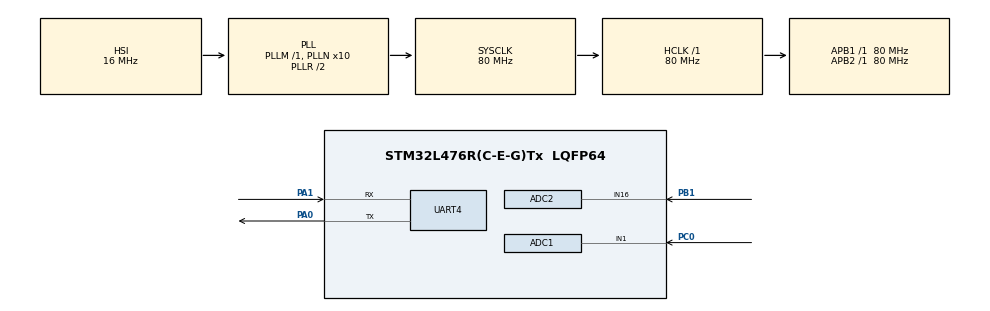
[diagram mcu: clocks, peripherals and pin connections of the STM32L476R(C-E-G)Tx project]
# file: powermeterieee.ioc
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ADC1.Channel-0\#ChannelRegularConversion=ADC_CHANNEL_1
ADC1.ClockPrescaler=ADC_CLOCK_ASYNC_DIV1
ADC1.ContinuousConvMode=DISABLE
ADC1.DMAAccessModeView=ENABLE
ADC1.DMAContinuousRequests=ENABLE
ADC1.ExternalTrigConv=ADC_EXTERNALTRIG_T1_TRGO
ADC1.Mode=ADC_DUALMODE_REGSIMULT
ADC1.NbrOfConversionFlag=1
ADC1.OffsetNumber-0\#ChannelRegularConversion=ADC_OFFSET_NONE
ADC1.Rank-0\#ChannelRegularConversion=1
ADC1.Resolution=ADC_RESOLUTION_12B
ADC1.SamplingTime-0\#ChannelRegularConversion=ADC_SAMPLETIME_92CYCLES_5
ADC1.master=1
ADC2.Channel-0\#ChannelRegularConversion=ADC_CHANNEL_16
ADC2.DMAAccessModeView=ENABLE
ADC2.Mode=ADC_DUALMODE_REGSIMULT
ADC2.NbrOfConversionFlag=1
ADC2.OffsetNumber-0\#ChannelRegularConversion=ADC_OFFSET_NONE
ADC2.Rank-0\#ChannelRegularConversion=1
ADC2.SamplingTime-0\#ChannelRegularConversion=ADC_SAMPLETIME_2CYCLES_5
Dma.ADC1.0.Direction=DMA_PERIPH_TO_MEMORY
Dma.ADC1.0.Instance=DMA1_Channel1
Dma.ADC1.0.MemDataAlignment=DMA_MDATAALIGN_WORD
Dma.ADC1.0.MemInc=DMA_MINC_ENABLE
Dma.ADC1.0.Mode=DMA_CIRCULAR
Dma.ADC1.0.PeriphDataAlignment=DMA_PDATAALIGN_WORD
Dma.ADC1.0.PeriphInc=DMA_PINC_DISABLE
Dma.ADC1.0.Priority=DMA_PRIORITY_LOW
Dma.Request0=ADC1
FREERTOS.BinarySemaphores01=uartBinSema,Dynamic,NULL
FREERTOS.Queues01=adchalfselectQueue,1,uint8_t,0,Dynamic,NULL,NULL;rxuartqueue,128,uint8_t,0,Dynamic,NULL,NULL;energyqueue,1,ENERGY_DATA,0,Dynamic,NULL,NULL
FREERTOS.Tasks01=uartTask,24,256,StartUartTask,Default,NULL,Dynamic,NULL,NULL;adcTask,32,256,StartAdcTask,Default,NULL,Dynamic,NULL,NULL
FREERTOS.configTOTAL_HEAP_SIZE=3500
FREERTOS.configUSE_NEWLIB_REENTRANT=1
Mcu.Family=STM32L4
Mcu.Name=STM32L476R(C-E-G)Tx
Mcu.Package=LQFP64
NVIC.DMA1_Channel1_IRQn=true\:5\:0\:false\:false\:true\:true\:false\:true\:true
NVIC.PriorityGroup=NVIC_PRIORITYGROUP_4
NVIC.TIM7_IRQn=true\:15\:0\:false\:false\:true\:false\:false\:true\:true
NVIC.TimeBase=TIM7_IRQn
NVIC.TimeBaseIP=TIM7
NVIC.UART4_IRQn=true\:5\:0\:false\:false\:true\:true\:true\:true\:true
PA0.Mode=Asynchronous
PA0.Signal=UART4_TX
PA1.Mode=Asynchronous
PA1.Signal=UART4_RX
PB1.Signal=ADCx_IN16
PC0.Signal=ADCx_IN1
ProjectManager.HeapSize=0x200
ProjectManager.StackSize=0x400
ProjectManager.TargetToolchain=STM32CubeIDE
RCC.ADCFreq_Value=64000000
RCC.AHBFreq_Value=80000000
RCC.APB1Freq_Value=80000000
RCC.APB1TimFreq_Value=80000000
RCC.APB2Freq_Value=80000000
RCC.APB2TimFreq_Value=80000000
RCC.CortexFreq_Value=80000000
RCC.HCLKFreq_Value=80000000
RCC.HSE_VALUE=8000000
RCC.HSI_VALUE=16000000
RCC.LSE_VALUE=32768
RCC.MSI_VALUE=4000000
RCC.PLLN=10
RCC.PLLSourceVirtual=RCC_PLLSOURCE_HSI
RCC.PREFETCH_ENABLE=1
RCC.SYSCLKFreq_VALUE=80000000
RCC.SYSCLKSource=RCC_SYSCLKSOURCE_PLLCLK
RCC.USBFreq_Value=64000000
RCC.VCOOutputFreq_Value=160000000
SH.ADCx_IN1.0=ADC1_IN1,IN1-Single-Ended
SH.ADCx_IN16.0=ADC2_IN16,IN16-Single-Ended
TIM1.Period=10416
TIM1.TIM_MasterOutputTrigger=TIM_TRGO_UPDATE
VP_FREERTOS_VS_CMSIS_V2.Mode=CMSIS_V2
VP_SYS_VS_tim7.Mode=TIM7
VP_TIM1_VS_ClockSourceINT.Mode=Internal
board=NUCLEO-L476RG

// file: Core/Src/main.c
/* USER CODE BEGIN Header */
/**
  ******************************************************************************
  * @file           : main.c
  * @brief          : Main program body
  ******************************************************************************
  * @attention
  *
  * Copyright (c) 2024 STMicroelectronics.
  * All rights reserved.
  *
  * This software is licensed under terms that can be found in the LICENSE file
  * in the root directory of this software component.
  * If no LICENSE file comes with this software, it is provided AS-IS.
  *
  ******************************************************************************
  */
/* USER CODE END Header */
#include "main.h"
#include "cmsis_os.h"

/* USER CODE BEGIN Includes */
#include "math.h"
#include "queue.h"
#include "semphr.h"

/* USER CODE END Includes */

/* USER CODE BEGIN PTD */

 typedef enum UART_MACHINE_STATES
{
  UMS_RECEIVING,
  UMS_PROCESSING_RESPONSE_PACKAGE,
  UMS_SENDING_RESPONSE,
  UMS_TIMEOUT						//sem rotina por enqnt...
}UART_MACHINE_STATES;

 typedef enum UART_PACKAGE_PARTS
{
  UPP_STX,
  UPP_DEVICE_ADDRESS,
  UPP_OPCODE,
  UPP_DATA_LEN,
  UPP_DATA,
  UPP_CHECKSUM,
  UPP_ETX
}UART_PACKAGE_PARTS;

 typedef enum ERRORS_LISTtag
 {
     EL_NO_ERROR = 0x00,
     EL_INVALID_OPCODE = 0x01,
     EL_INVALID_DATA = 0x02,
     EL_MEMORY_WRITE_ERROR = 0x03,

     EL_NUM_ERRORS
 }ERRORS_LIST;

// Pergunta
//    0x10 a 0x7F
// Resposta
//    0x90 a 0xFF

typedef enum UART_OPCODES
{
	// Busca de dados e informações 0x10 a 0x1F
	UO_KEEPALIVE		= 0x10,
	UO_GET_DATA 		= 0x11,

	// Ações de configuração e ajustes 0x20 a 0x3F
	UO_SETCONFIG		= 0x20,

	// Operação ou outro 0x40 a 0x5F

	UO_NUM_OF

}UART_OPCODES;

/* USER CODE END PTD */

/* USER CODE BEGIN PM */
#define V1_SENSOR_MULT	0.000837696335//0.996551//Encontra a tensão da Saída do Sensor x100
#define V1_REAL_MULT 	789.1033381//808.1496160//63.37024//Encontra a tensão de entrada do Sensor  x100

#define C2_SENSOR_MULT	0.000878232758//0.362903//Encontra a tensão da Saída do Sensor x100
#define C2_REAL_MULT	23.10292756//5.4691//Encontra a Corrente de entrada do Sensor  x100

#define F_BUFFER_SIZE	256
#define H_BUFFER_SIZE	128

#define MIN_RMS_VOLTAGE 300

#define STX 0x02
#define ETX 0x03
#define ESC 0x10
#define ESC_INC 0x20
#define DEVICE_ADDR  0x01

#define RESPONSE_OPCODE_MASK 0x80

#define MAX_DATA_LEN 	122
#define MAX_PACKAGE_LEN 128
/* USER CODE END PM */

ADC_HandleTypeDef hadc1;
ADC_HandleTypeDef hadc2;
DMA_HandleTypeDef hdma_adc1;

TIM_HandleTypeDef htim1;

UART_HandleTypeDef huart4;

/* Definitions for uartTask */
osThreadId_t uartTaskHandle;
const osThreadAttr_t uartTask_attributes = {
  .name = "uartTask",
  .stack_size = 256 * 4,
  .priority = (osPriority_t) osPriorityNormal,
};
/* Definitions for adcTask */
osThreadId_t adcTaskHandle;
const osThreadAttr_t adcTask_attributes = {
  .name = "adcTask",
  .stack_size = 256 * 4,
  .priority = (osPriority_t) osPriorityAboveNormal,
};
/* Definitions for adchalfselectQueue */
osMessageQueueId_t adchalfselectQueueHandle;
const osMessageQueueAttr_t adchalfselectQueue_attributes = {
  .name = "adchalfselectQueue"
};
/* Definitions for rxuartqueue */
osMessageQueueId_t rxuartqueueHandle;
const osMessageQueueAttr_t rxuartqueue_attributes = {
  .name = "rxuartqueue"
};
/* Definitions for energyqueue */
osMessageQueueId_t energyqueueHandle;
const osMessageQueueAttr_t energyqueue_attributes = {
  .name = "energyqueue"
};
/* Definitions for uartBinSema */
osSemaphoreId_t uartBinSemaHandle;
const osSemaphoreAttr_t uartBinSema_attributes = {
  .name = "uartBinSema"
};
/* USER CODE BEGIN PV */

typedef struct UART_PACKAGE_PROTOCOL
{
  unsigned char uc_Stx;
  unsigned char uc_DeviceAddress;
  unsigned char uc_OpCode;
  unsigned char uc_Datalen;
  unsigned char uc_Data[MAX_DATA_LEN];
  unsigned char uc_Checksum;
  unsigned char uc_Etx;
}UART_PACKAGE_PROTOCOL;

typedef struct ENERGY_DATA
{
	int32_t rms_current;
	int32_t rms_voltage;
	uint32_t pot_aparente;
	uint32_t pot_reativa;
	int32_t  pot_ativa;
	uint16_t pf;
	uint64_t consumption;
}ENERGY_DATA;

 int32_t pot_ativa1 = 0;
 uint32_t pot_aparente1 = 0;
 uint32_t pot_reativa1 = 0;
 int32_t rms_voltage1 = 0;
 int32_t rms_current1 = 0;
 uint16_t pf1 = 0;
 uint64_t consumption1 = 0;

uint32_t 	adcBuffer[F_BUFFER_SIZE];
uint16_t 	adc1_voltage[H_BUFFER_SIZE];
uint16_t 	adc2_current[H_BUFFER_SIZE];

UART_MACHINE_STATES m_udtUartmachineStates;
UART_PACKAGE_PARTS  m_udtUartPackageParts;
UART_PACKAGE_PROTOCOL m_udtReceptionPackage;
UART_PACKAGE_PROTOCOL m_udtTransmitionPackage;

// Dado que está sendo processado no pacote
unsigned char m_ucCorrentDataPos;

// Dado que está sendo processado no Buffer de Transmissao
unsigned char m_ucTXBufferCorrentDataPos = 0;

// CheckSum Calculado
unsigned char m_ucCalculatedChecksum;

// Indica que está tratando um scape char
uint8_t m_blnProcessingScapeChar;

// Indica que está na hora de responder
uint8_t m_blnReply = 0;

uint8_t rx_buffer;
uint8_t tx_buffer[MAX_PACKAGE_LEN];

/* USER CODE END PV */

void SystemClock_Config(void);
void PeriphCommonClock_Config(void);
static void MX_GPIO_Init(void);
static void MX_DMA_Init(void);
static void MX_ADC1_Init(void);
static void MX_TIM1_Init(void);
static void MX_ADC2_Init(void);
static void MX_UART4_Init(void);
void StartUartTask(void *argument);
void StartAdcTask(void *argument);

/* USER CODE BEGIN PFP */

/**
* void ResetSerial()
*
* Rotina responsável por reinicializar o protocolo serial para aguardar um novo pacote.
*
* @author Vinicius Ludwig
*/
void ResetSerial();

/**
* unsigned char CalculateChecksum(unsigned char* udtpackage, unsigned char ucLen)
*
* Calcula o checksum de um pacote.
*
* @author Vinicius Ludwig
*/
unsigned char CalculateChecksum(unsigned char* udtpackage, unsigned char ucLen);

/**
* bool SendData(unsigned char ucDataTosend, bool blnIsSpecialChar)
*
* Valida e envia um dado via serial
*
* @author Vinicius Ludwig
*/
uint8_t SendData(unsigned char ucDataTosend, uint8_t blnIsSpecialChar);

/**
* void UartMainProcess(unsigned char ucData)
*
* Chamado do processamento da serial na task da uart.
*
* @author Vinicius Ludwig
*/
void UartMainProcess(unsigned char ucData);

/* USER CODE END PFP */

int main(void)
{

  /* MCU Configuration--------------------------------------------------------*/

  /* Reset of all peripherals, Initializes the Flash interface and the Systick. */
  HAL_Init();

  /* Configure the system clock */
  SystemClock_Config();

/* Configure the peripherals common clocks */
  PeriphCommonClock_Config();

  /* Initialize all configured peripherals */
  MX_GPIO_Init();
  MX_DMA_Init();
  MX_ADC1_Init();
  MX_TIM1_Init();
  MX_ADC2_Init();
  MX_UART4_Init();

  /* Init scheduler */
  osKernelInitialize();

  /* Create the semaphores(s) */
  /* creation of uartBinSema */
  uartBinSemaHandle = osSemaphoreNew(1, 1, &uartBinSema_attributes);

  /* Create the queue(s) */
  /* creation of adchalfselectQueue */
  adchalfselectQueueHandle = osMessageQueueNew (1, sizeof(uint8_t), &adchalfselectQueue_attributes);

  /* creation of rxuartqueue */
  rxuartqueueHandle = osMessageQueueNew (128, sizeof(uint8_t), &rxuartqueue_attributes);

  /* creation of energyqueue */
  energyqueueHandle = osMessageQueueNew (1, sizeof(ENERGY_DATA), &energyqueue_attributes);

  /* Create the thread(s) */
  /* creation of uartTask */
  uartTaskHandle = osThreadNew(StartUartTask, NULL, &uartTask_attributes);

  /* creation of adcTask */
  adcTaskHandle = osThreadNew(StartAdcTask, NULL, &adcTask_attributes);

  /* Start scheduler */
  osKernelStart();

  /* We should never get here as control is now taken by the scheduler */
  /* Infinite loop */
  while (1)
  {

  }
}

void SystemClock_Config(void)
{
  RCC_OscInitTypeDef RCC_OscInitStruct = {0};
  RCC_ClkInitTypeDef RCC_ClkInitStruct = {0};

  /** Configure the main internal regulator output voltage
  */
  if (HAL_PWREx_ControlVoltageScaling(PWR_REGULATOR_VOLTAGE_SCALE1) != HAL_OK)
  {
    Error_Handler();
  }

  /** Initializes the RCC Oscillators according to the specified parameters
  * in the RCC_OscInitTypeDef structure.
  */
  RCC_OscInitStruct.OscillatorType = RCC_OSCILLATORTYPE_HSI;
  RCC_OscInitStruct.HSIState = RCC_HSI_ON;
  RCC_OscInitStruct.HSICalibrationValue = RCC_HSICALIBRATION_DEFAULT;
  RCC_OscInitStruct.PLL.PLLState = RCC_PLL_ON;
  RCC_OscInitStruct.PLL.PLLSource = RCC_PLLSOURCE_HSI;
  RCC_OscInitStruct.PLL.PLLM = 1;
  RCC_OscInitStruct.PLL.PLLN = 10;
  RCC_OscInitStruct.PLL.PLLP = RCC_PLLP_DIV7;
  RCC_OscInitStruct.PLL.PLLQ = RCC_PLLQ_DIV2;
  RCC_OscInitStruct.PLL.PLLR = RCC_PLLR_DIV2;
  if (HAL_RCC_OscConfig(&RCC_OscInitStruct) != HAL_OK)
  {
    Error_Handler();
  }

  /** Initializes the CPU, AHB and APB buses clocks
  */
  RCC_ClkInitStruct.ClockType = RCC_CLOCKTYPE_HCLK|RCC_CLOCKTYPE_SYSCLK
                              |RCC_CLOCKTYPE_PCLK1|RCC_CLOCKTYPE_PCLK2;
  RCC_ClkInitStruct.SYSCLKSource = RCC_SYSCLKSOURCE_PLLCLK;
  RCC_ClkInitStruct.AHBCLKDivider = RCC_SYSCLK_DIV1;
  RCC_ClkInitStruct.APB1CLKDivider = RCC_HCLK_DIV1;
  RCC_ClkInitStruct.APB2CLKDivider = RCC_HCLK_DIV1;

  if (HAL_RCC_ClockConfig(&RCC_ClkInitStruct, FLASH_LATENCY_4) != HAL_OK)
  {
    Error_Handler();
  }
}

void PeriphCommonClock_Config(void)
{
  RCC_PeriphCLKInitTypeDef PeriphClkInit = {0};

  /** Initializes the peripherals clock
  */
  PeriphClkInit.PeriphClockSelection = RCC_PERIPHCLK_ADC;
  PeriphClkInit.AdcClockSelection = RCC_ADCCLKSOURCE_PLLSAI1;
  PeriphClkInit.PLLSAI1.PLLSAI1Source = RCC_PLLSOURCE_HSI;
  PeriphClkInit.PLLSAI1.PLLSAI1M = 1;
  PeriphClkInit.PLLSAI1.PLLSAI1N = 8;
  PeriphClkInit.PLLSAI1.PLLSAI1P = RCC_PLLP_DIV7;
  PeriphClkInit.PLLSAI1.PLLSAI1Q = RCC_PLLQ_DIV2;
  PeriphClkInit.PLLSAI1.PLLSAI1R = RCC_PLLR_DIV2;
  PeriphClkInit.PLLSAI1.PLLSAI1ClockOut = RCC_PLLSAI1_ADC1CLK;
  if (HAL_RCCEx_PeriphCLKConfig(&PeriphClkInit) != HAL_OK)
  {
    Error_Handler();
  }
}

static void MX_ADC1_Init(void)
{

  ADC_MultiModeTypeDef multimode = {0};
  ADC_ChannelConfTypeDef sConfig = {0};

  /** Common config
  */
  hadc1.Instance = ADC1;
  hadc1.Init.ClockPrescaler = ADC_CLOCK_ASYNC_DIV1;
  hadc1.Init.Resolution = ADC_RESOLUTION_12B;
  hadc1.Init.DataAlign = ADC_DATAALIGN_RIGHT;
  hadc1.Init.ScanConvMode = ADC_SCAN_DISABLE;
  hadc1.Init.EOCSelection = ADC_EOC_SINGLE_CONV;
  hadc1.Init.LowPowerAutoWait = DISABLE;
  hadc1.Init.ContinuousConvMode = DISABLE;
  hadc1.Init.NbrOfConversion = 1;
  hadc1.Init.DiscontinuousConvMode = DISABLE;
  hadc1.Init.ExternalTrigConv = ADC_EXTERNALTRIG_T1_TRGO;
  hadc1.Init.ExternalTrigConvEdge = ADC_EXTERNALTRIGCONVEDGE_RISING;
  hadc1.Init.DMAContinuousRequests = ENABLE;
  hadc1.Init.Overrun = ADC_OVR_DATA_PRESERVED;
  hadc1.Init.OversamplingMode = DISABLE;
  if (HAL_ADC_Init(&hadc1) != HAL_OK)
  {
    Error_Handler();
  }

  /** Configure the ADC multi-mode
  */
  multimode.Mode = ADC_DUALMODE_REGSIMULT;
  multimode.DMAAccessMode = ADC_DMAACCESSMODE_12_10_BITS;
  multimode.TwoSamplingDelay = ADC_TWOSAMPLINGDELAY_1CYCLE;
  if (HAL_ADCEx_MultiModeConfigChannel(&hadc1, &multimode) != HAL_OK)
  {
    Error_Handler();
  }

  /** Configure Regular Channel
  */
  sConfig.Channel = ADC_CHANNEL_1;
  sConfig.Rank = ADC_REGULAR_RANK_1;
  sConfig.SamplingTime = ADC_SAMPLETIME_92CYCLES_5;
  sConfig.SingleDiff = ADC_SINGLE_ENDED;
  sConfig.OffsetNumber = ADC_OFFSET_NONE;
  sConfig.Offset = 0;
  if (HAL_ADC_ConfigChannel(&hadc1, &sConfig) != HAL_OK)
  {
    Error_Handler();
  }

}

static void MX_ADC2_Init(void)
{

  ADC_ChannelConfTypeDef sConfig = {0};

  /** Common config
  */
  hadc2.Instance = ADC2;
  hadc2.Init.ClockPrescaler = ADC_CLOCK_ASYNC_DIV1;
  hadc2.Init.Resolution = ADC_RESOLUTION_12B;
  hadc2.Init.DataAlign = ADC_DATAALIGN_RIGHT;
  hadc2.Init.ScanConvMode = ADC_SCAN_DISABLE;
  hadc2.Init.EOCSelection = ADC_EOC_SINGLE_CONV;
  hadc2.Init.LowPowerAutoWait = DISABLE;
  hadc2.Init.ContinuousConvMode = DISABLE;
  hadc2.Init.NbrOfConversion = 1;
  hadc2.Init.DiscontinuousConvMode = DISABLE;
  hadc2.Init.DMAContinuousRequests = DISABLE;
  hadc2.Init.Overrun = ADC_OVR_DATA_PRESERVED;
  hadc2.Init.OversamplingMode = DISABLE;
  if (HAL_ADC_Init(&hadc2) != HAL_OK)
  {
    Error_Handler();
  }

  /** Configure Regular Channel
  */
  sConfig.Channel = ADC_CHANNEL_16;
  sConfig.Rank = ADC_REGULAR_RANK_1;
  sConfig.SamplingTime = ADC_SAMPLETIME_2CYCLES_5;
  sConfig.SingleDiff = ADC_SINGLE_ENDED;
  sConfig.OffsetNumber = ADC_OFFSET_NONE;
  sConfig.Offset = 0;
  if (HAL_ADC_ConfigChannel(&hadc2, &sConfig) != HAL_OK)
  {
    Error_Handler();
  }

}

static void MX_TIM1_Init(void)
{

  TIM_ClockConfigTypeDef sClockSourceConfig = {0};
  TIM_MasterConfigTypeDef sMasterConfig = {0};

  htim1.Instance = TIM1;
  htim1.Init.Prescaler = 0;
  htim1.Init.CounterMode = TIM_COUNTERMODE_UP;
  htim1.Init.Period = 10416;
  htim1.Init.ClockDivision = TIM_CLOCKDIVISION_DIV1;
  htim1.Init.RepetitionCounter = 0;
  htim1.Init.AutoReloadPreload = TIM_AUTORELOAD_PRELOAD_DISABLE;
  if (HAL_TIM_Base_Init(&htim1) != HAL_OK)
  {
    Error_Handler();
  }
  sClockSourceConfig.ClockSource = TIM_CLOCKSOURCE_INTERNAL;
  if (HAL_TIM_ConfigClockSource(&htim1, &sClockSourceConfig) != HAL_OK)
  {
    Error_Handler();
  }
  sMasterConfig.MasterOutputTrigger = TIM_TRGO_UPDATE;
  sMasterConfig.MasterOutputTrigger2 = TIM_TRGO2_RESET;
  sMasterConfig.MasterSlaveMode = TIM_MASTERSLAVEMODE_DISABLE;
  if (HAL_TIMEx_MasterConfigSynchronization(&htim1, &sMasterConfig) != HAL_OK)
  {
    Error_Handler();
  }

}

static void MX_UART4_Init(void)
{

  huart4.Instance = UART4;
  huart4.Init.BaudRate = 115200;
  huart4.Init.WordLength = UART_WORDLENGTH_8B;
  huart4.Init.StopBits = UART_STOPBITS_1;
  huart4.Init.Parity = UART_PARITY_NONE;
  huart4.Init.Mode = UART_MODE_TX_RX;
  huart4.Init.HwFlowCtl = UART_HWCONTROL_NONE;
  huart4.Init.OverSampling = UART_OVERSAMPLING_16;
  huart4.Init.OneBitSampling = UART_ONE_BIT_SAMPLE_DISABLE;
  huart4.AdvancedInit.AdvFeatureInit = UART_ADVFEATURE_NO_INIT;
  if (HAL_UART_Init(&huart4) != HAL_OK)
  {
    Error_Handler();
  }

}

static void MX_DMA_Init(void)
{

  /* DMA controller clock enable */
  __HAL_RCC_DMA1_CLK_ENABLE();

  /* DMA interrupt init */
  /* DMA1_Channel1_IRQn interrupt configuration */
  HAL_NVIC_SetPriority(DMA1_Channel1_IRQn, 5, 0);
  HAL_NVIC_EnableIRQ(DMA1_Channel1_IRQn);

}

static void MX_GPIO_Init(void)
{

  /* GPIO Ports Clock Enable */
  __HAL_RCC_GPIOC_CLK_ENABLE();
  __HAL_RCC_GPIOA_CLK_ENABLE();
  __HAL_RCC_GPIOB_CLK_ENABLE();

}

/* USER CODE BEGIN 4 */

////////////////////////////////////////////////////////////////////////////////////////////////////////
////////////////////////////////////////////////////////////////////////////////////////////////////////
//-------------------------------------------  UART --------------------------------------------------//
////////////////////////////////////////////////////////////////////////////////////////////////////////
////////////////////////////////////////////////////////////////////////////////////////////////////////

/**
* void ResetSerial()
*
* Rotina responsável por reinicializar o protocolo serial para aguardar um novo pacote.
*
* @author Vinicius Ludwig
*/
void ResetSerial()
{
  // Inicialmente estamos aguardando a recepção dos dados do dispositivo remoto.
  m_udtUartmachineStates = UMS_RECEIVING;

  // Inicialmente estamos aguardando o STX
  m_udtUartPackageParts = UPP_STX;

  // Cria os ponteiros para os pacotes
  unsigned char* pucReceptionpackage = &m_udtReceptionPackage.uc_Stx;
  unsigned char* pucTranmitionpackage = &m_udtTransmitionPackage.uc_Stx;

  unsigned char ucPosition = 0;

  // Prepara a varredura
  while(ucPosition <  sizeof(UART_PACKAGE_PROTOCOL))
  {
      *pucReceptionpackage = 0x00;
      *pucTranmitionpackage = 0x00;
      pucReceptionpackage++;
      pucTranmitionpackage++;

     ucPosition++;
  }

  // Inicializa a posição a ser processada como 0.
  m_ucCorrentDataPos = 0x00;

  // Inicializa o Checksum calculado com 0
  m_ucCalculatedChecksum = 0;

}

/**
* void UartMainProcess()
*
* Chamado do processamento da serial no loop principal.
*
* @author Vinicius Ludwig
*/
void UartMainProcess(unsigned char ucData)
{
  switch (m_udtUartmachineStates)
  {
    case UMS_RECEIVING:
    {

//      // Verifica se existem dados para ler
//      if(Serial2.available() == 0)
//      {
//         // Sem dados para ler.
//         ///////////////////////
//
//         // Cai fora
//         break;
//       }

      // recebe o dado da queue

      /////////////////////////////////////////////////
      // Processamento dos caracteres especiais
      /////////////////////////////////////////////////

      // Verifica se é um inicializador de pacotes
      if( ucData == STX )
      {
          // Inicializador de pacotes.
          //////////////////////////////

          // Reseta a serial;
          ResetSerial();

          // Guarda o dado recebido
          m_udtReceptionPackage.uc_Stx = STX;

          // Vai para o próximo estado
          m_udtUartPackageParts = (UART_PACKAGE_PARTS)UPP_DEVICE_ADDRESS;

          // Cai fora.
          break;
      }

      // Verifica se é um terminador de pacotes
      if( ucData == ETX )
      {
        // Terminador de pacotes.
        //////////////////////////////

        // Verifica se está na hora de receber esse dado.
        if( m_udtUartPackageParts != (UART_PACKAGE_PARTS)UPP_ETX )
        {
          // Dado incorreto.
          //////////////////

          // Reseta a serial;
          ResetSerial();

          // Cai fora.
          break;
        }

        m_udtReceptionPackage.uc_Etx = ETX;

        // Vai para o próximo estado
        m_udtUartmachineStates = UMS_PROCESSING_RESPONSE_PACKAGE;
        m_udtUartPackageParts = (UART_PACKAGE_PARTS)UPP_STX;

        // Cai fora
        break;
      }

      // Verifica se é um scape char e se esse deve ser tratado
      if(ucData == ESC)
      {
        m_blnProcessingScapeChar = 1;

        break;
      }

      // Verifica se está no dado pós scape char
      if(m_blnProcessingScapeChar == 1)
      {
        // Dado pós scape char
        ///////////////////////

        // Processa o dado
        ucData = ucData & ~ESC_INC;

        // Indica que já tratou
        m_blnProcessingScapeChar = 0;
      }

      switch (m_udtUartPackageParts)
      {
        case UPP_DEVICE_ADDRESS:
        {
          // Verifica se o dado recebido é o correto.
          if( ucData == DEVICE_ADDR )
          {
              // Dado correto.
              //////////////////

              // Guarda o dado recebido
              m_udtReceptionPackage.uc_DeviceAddress = ucData;

              // Vai para o próximo estado
              m_udtUartPackageParts = (UART_PACKAGE_PARTS)UPP_OPCODE;
          }
        }
        break;
        case UPP_OPCODE:
        {
          // Guarda o dado recebido
          m_udtReceptionPackage.uc_OpCode = ucData;

          // Vai para o próximo estado
          m_udtUartPackageParts = (UART_PACKAGE_PARTS)UPP_DATA_LEN;

        }
        break;
        case UPP_DATA_LEN:
        {
          // Verifica se o dado recebido é o correto.
          if( ucData >= MAX_DATA_LEN )
          {
              // OpCode inválido.
              //////////////////

              // Reseta a serial;
              ResetSerial();

              // Cai fora.
              break;
          }

          // Guarda o dado recebido
          m_udtReceptionPackage.uc_Datalen = ucData;

          // Verifica se existirão dados
          if (m_udtReceptionPackage.uc_Datalen > 0)
          {
              // Existirão dados.
              // /////////////////

              // Vai para o próximo estado
              m_udtUartPackageParts = (UART_PACKAGE_PARTS)UPP_DATA;
          }
          else
          {
              // Não existirão dados.
              // /////////////////////

              // Vai para o próximo estado
              m_udtUartPackageParts = (UART_PACKAGE_PARTS)UPP_CHECKSUM;
          }

        }
        break;
        case UPP_DATA:
        {
          // Guarda o dado recebido
          m_udtReceptionPackage.uc_Data[m_ucCorrentDataPos] = ucData;

          // Incrementa a posição
          m_ucCorrentDataPos++;

          // Verifica se atingiu o número de dados
          if(m_ucCorrentDataPos >= m_udtReceptionPackage.uc_Datalen)
          {
            // Chegou ao fim dos dados
            /////////////////////////////

            // Vai para o próximo estado
            m_udtUartPackageParts = (UART_PACKAGE_PARTS)UPP_CHECKSUM;
          }
        }
        break;
        case UPP_CHECKSUM:
        {
          // Guarda o dado recebido
          m_udtReceptionPackage.uc_Checksum = ucData;

          // Calcula o checksum do pacote
          m_ucCalculatedChecksum = CalculateChecksum(&m_udtReceptionPackage.uc_Stx, (1 + 1 + 1 + 1 + m_udtReceptionPackage.uc_Datalen +1));

          // Verifica se o checksum bateu
          if(m_udtReceptionPackage.uc_Checksum != m_ucCalculatedChecksum)
          {
            // Não bateu
            /////////////

            // Reseta a serial;
            ResetSerial();

            // Cai fora
            break;
          }

          // Vai para o próximo estado
          m_udtUartPackageParts = (UART_PACKAGE_PARTS)UPP_ETX;
        }
        break;
      }
    }
    break;
    case UMS_PROCESSING_RESPONSE_PACKAGE:
    {
      // Prepara os dados fixos do pacote
      m_udtTransmitionPackage.uc_Stx = STX;
      m_udtTransmitionPackage.uc_Etx = ETX;
      m_udtTransmitionPackage.uc_DeviceAddress = 0x01;
      m_udtTransmitionPackage.uc_OpCode = RESPONSE_OPCODE_MASK | m_udtReceptionPackage.uc_OpCode;

      switch( m_udtReceptionPackage.uc_OpCode )
      {
         case UO_KEEPALIVE:
         {
            // Prepara o pacote de resposta
            m_udtTransmitionPackage.uc_Datalen = 0x00;

         }
         break;
         case UO_GET_DATA:
                 {
					ENERGY_DATA m_udtEnergyDataPacket;

					xQueueReceive(energyqueueHandle, &m_udtEnergyDataPacket, portMAX_DELAY);

					// Prepara o pacote de resposta
					m_udtTransmitionPackage.uc_Datalen = 0x1A;

					m_udtTransmitionPackage.uc_Data[0] = (uint8_t)((m_udtEnergyDataPacket.rms_voltage & 0x0000FF00) >> 8);
					m_udtTransmitionPackage.uc_Data[1] = (uint8_t)((m_udtEnergyDataPacket.rms_voltage & 0x000000FF));

					m_udtTransmitionPackage.uc_Data[2] = (uint8_t)((m_udtEnergyDataPacket.rms_current & 0x0000FF00) >> 8);
					m_udtTransmitionPackage.uc_Data[3] = (uint8_t)((m_udtEnergyDataPacket.rms_current & 0x000000FF));

					m_udtTransmitionPackage.uc_Data[4] = (uint8_t)((m_udtEnergyDataPacket.pf & 0xFF00) >> 8);
					m_udtTransmitionPackage.uc_Data[5] = (uint8_t)((m_udtEnergyDataPacket.pf & 0x00FF));

					m_udtTransmitionPackage.uc_Data[6] = (uint8_t)((m_udtEnergyDataPacket.pot_aparente & 0xFF000000) >> 24);
					m_udtTransmitionPackage.uc_Data[7] = (uint8_t)((m_udtEnergyDataPacket.pot_aparente & 0x00FF0000) >> 16);
					m_udtTransmitionPackage.uc_Data[8] = (uint8_t)((m_udtEnergyDataPacket.pot_aparente & 0x0000FF00) >> 8);
					m_udtTransmitionPackage.uc_Data[9] = (uint8_t)((m_udtEnergyDataPacket.pot_aparente & 0x000000FF));

					m_udtTransmitionPackage.uc_Data[10] = (uint8_t)((m_udtEnergyDataPacket.pot_ativa & 0xFF000000) >> 24);
					m_udtTransmitionPackage.uc_Data[11] = (uint8_t)((m_udtEnergyDataPacket.pot_ativa & 0x00FF0000) >> 16);
					m_udtTransmitionPackage.uc_Data[12] = (uint8_t)((m_udtEnergyDataPacket.pot_ativa & 0x0000FF00) >> 8);
					m_udtTransmitionPackage.uc_Data[13] = (uint8_t)((m_udtEnergyDataPacket.pot_ativa & 0x000000FF));

					m_udtTransmitionPackage.uc_Data[14] = (uint8_t)((m_udtEnergyDataPacket.pot_reativa & 0xFF000000) >> 24);
					m_udtTransmitionPackage.uc_Data[15] = (uint8_t)((m_udtEnergyDataPacket.pot_reativa & 0x00FF0000) >> 16);
					m_udtTransmitionPackage.uc_Data[16] = (uint8_t)((m_udtEnergyDataPacket.pot_reativa & 0x0000FF00) >> 8);
					m_udtTransmitionPackage.uc_Data[17] = (uint8_t)((m_udtEnergyDataPacket.pot_reativa & 0x000000FF));

					m_udtTransmitionPackage.uc_Data[18] = (uint8_t)((m_udtEnergyDataPacket.consumption & 0xFF00000000000000) >> 56);
					m_udtTransmitionPackage.uc_Data[19] = (uint8_t)((m_udtEnergyDataPacket.consumption & 0x00FF000000000000) >> 48);
					m_udtTransmitionPackage.uc_Data[20] = (uint8_t)((m_udtEnergyDataPacket.consumption & 0x0000FF0000000000) >> 40);
					m_udtTransmitionPackage.uc_Data[21] = (uint8_t)((m_udtEnergyDataPacket.consumption & 0x000000FF00000000) >> 32);
					m_udtTransmitionPackage.uc_Data[22] = (uint8_t)((m_udtEnergyDataPacket.consumption & 0x00000000FF000000) >> 24);
					m_udtTransmitionPackage.uc_Data[23] = (uint8_t)((m_udtEnergyDataPacket.consumption & 0x0000000000FF0000) >> 16);
					m_udtTransmitionPackage.uc_Data[24] = (uint8_t)((m_udtEnergyDataPacket.consumption & 0x000000000000FF00) >> 8);
					m_udtTransmitionPackage.uc_Data[25] = (uint8_t)((m_udtEnergyDataPacket.consumption & 0x00000000000000FF));

                 }
                 break;
         case UO_SETCONFIG:
         		 {
         			 ERRORS_LIST udtError = EL_NO_ERROR;
         			 uint8_t blnStatus = 0;

         			 // Verifica se o tamanho do pacote condiz com o esperado
         			 if (m_udtReceptionPackage.uc_Datalen == 4)
         			 {
         				 // Era a opcao 1
         				 //////////////////////////////////

         			 }
         			 else if (m_udtReceptionPackage.uc_Datalen == 0)
         			 {
         				 // Ou a opcao 2
         				 ///////////////////////////////

         				// Executa alguma funcao que retorna booleano de validação
         				//blnStatus = SaveParameters(bytLocation);
         			 }
         			 else
         			 {
         				 //Erro, dados inválidos
         				 /////////////////////////

         				 // Indica o erro
         				 udtError = EL_INVALID_DATA;
         			 }

         			 //Verifica se já veio com erro
         			 if (udtError == EL_NO_ERROR)
         			 {
         				 // Chegou sem erros
         				 ////////////////////

         				 // Verifica se deu algum erro de escrita
         				 if (blnStatus == 0)
         				 {
         					 // Deu erro de escrita
         					 /////////////////////////

         					 // Guarda o erro.
         					 udtError = EL_MEMORY_WRITE_ERROR;
         				 }
         			 }

         			// Prepara os dados que serão enviados (resposta de valdiação)
         			m_udtTransmitionPackage.uc_Datalen = 0x01;	//tamanho do pacote de resposta
         			m_udtTransmitionPackage.uc_Data[0] = (uint8_t)udtError & 0xFF;

         		 }
         		 break;

		 default:
		 {
			 // Retorna um erro
			 ///////////////////

			 // Força o OPCODE de erro

			 m_udtTransmitionPackage.uc_OpCode = RESPONSE_OPCODE_MASK | UO_SETCONFIG;
			m_udtTransmitionPackage.uc_Datalen = 0x01;
			m_udtTransmitionPackage.uc_Data[0] = EL_INVALID_OPCODE;
		 }
      }

      // Calcula o Checksum do pacote a ser enviado
      m_udtTransmitionPackage.uc_Checksum = CalculateChecksum(&m_udtTransmitionPackage.uc_Stx, (1 + 1 + 1 + 1 + m_udtTransmitionPackage.uc_Datalen + 1));

      // Vai para o próximo estado
      m_udtUartmachineStates = UMS_SENDING_RESPONSE;
      m_udtUartPackageParts = (UART_PACKAGE_PARTS)UPP_STX;
    }
    break;
    case UMS_SENDING_RESPONSE:
    {
      //Aqui poderia verificar se a serial está disponivel para responder
//      if( Serial2.availableForWrite() == 0 )
//      {
//        // Não pode transmitir.
//        /////////////////////////
//
//        // Cai fora.
//        break;
//      }

      switch (m_udtUartPackageParts)
      {
        case UPP_STX:
        {
          // Escreve
          if(SendData(m_udtTransmitionPackage.uc_Stx, 1) == 1)
          {
            // Vai para o próximo estado
            m_udtUartPackageParts = (UART_PACKAGE_PARTS)UPP_DEVICE_ADDRESS;
          }
        }
        break;
        case UPP_DEVICE_ADDRESS:
        {
          // Escreve
          if(SendData(m_udtTransmitionPackage.uc_DeviceAddress, 0) == 1)
          {
            // Vai para o próximo estado
            m_udtUartPackageParts = (UART_PACKAGE_PARTS)UPP_OPCODE;
          }
        }
        break;
        case UPP_OPCODE:
        {
          // Escreve
          if(SendData(m_udtTransmitionPackage.uc_OpCode, 0) == 1)
          {
            // Vai para o próximo estado
            m_udtUartPackageParts = (UART_PACKAGE_PARTS)UPP_DATA_LEN;
          }
        }
        break;
        case UPP_DATA_LEN:
        {
          // Escreve
          if(SendData(m_udtTransmitionPackage.uc_Datalen, 0) == 1)
          {
            // Zera a posição
            m_ucCorrentDataPos = 0x00;

            // Verifica se existirão dados
            if (m_udtTransmitionPackage.uc_Datalen > 0)
            {
                // Existirão dados.
                // /////////////////

                // Vai para o próximo estado
                m_udtUartPackageParts = (UART_PACKAGE_PARTS)UPP_DATA;
            }
            else
            {
                // Não existirão dados.
                ////////////////////////

                // Vai para o próximo estado
                m_udtUartPackageParts = (UART_PACKAGE_PARTS)UPP_CHECKSUM;
            }
          }
        }
        break;
        case UPP_DATA:
        {
          // Escreve
          if(SendData(m_udtTransmitionPackage.uc_Data[m_ucCorrentDataPos], 0) == 1)
          {
            // Incrementa a posição
            m_ucCorrentDataPos++;

            // Verifica se atingiu o número de dados
            if(m_ucCorrentDataPos >= m_udtTransmitionPackage.uc_Datalen)
            {
              // Chegou ao fim dos dados
              /////////////////////////////

              // Vai para o próximo estado
              m_udtUartPackageParts = (UART_PACKAGE_PARTS)UPP_CHECKSUM;
            }
          }

        }
        break;
        case UPP_CHECKSUM:
        {
          // Escreve
          if(SendData(m_udtTransmitionPackage.uc_Checksum, 0) == 1)
          {
            // Vai para o próximo estado
            m_udtUartPackageParts = (UART_PACKAGE_PARTS)UPP_ETX;
          }
        }
        break;
        case UPP_ETX:
        {
          // Escreve
          if(SendData(m_udtTransmitionPackage.uc_Etx, 1) == 1)
          {
        	 //Indica para a task que pode enviar a resposta
        	 m_blnReply = 1;

        	 ResetSerial();
          }
        }
        break;
      }
    }
    break;
    case UMS_TIMEOUT:
    {
      // Timeout
      ////////////

      // Reseta a serial;
      ResetSerial();
    }
    break;
  }

}

/**
* bool SendData(unsigned char ucDataTosend, bool blnIsSpecialChar)
*
* Valida e envia um dado via serial
*
* @author Vinicius Ludwig
*/
uint8_t SendData(unsigned char ucDataTosend, uint8_t blnIsSpecialChar)
{

  // Cria a variável de retorno indicando que foi um dado normal
  // false indica um scape char e não deve ir para o próximo
  uint8_t blnReturnValue = 1;

  // Verifica se é um caractere especial.
  if( blnIsSpecialChar == 0 )
  {
    // Não é um caractere especial,
    // devemos tratar
    ///////////////////////////////

    // Verifica se processou um caractere especial na última passada.
    if( m_blnProcessingScapeChar == 1 )
    {
      // Sinalizou um caractere igual a um
      // especial na última passada.
      ///////////////////////////////////////

      // Altera o dado
      ucDataTosend = ucDataTosend | ESC_INC;

      // Indica que já processou.
      m_blnProcessingScapeChar = 0;
    }
    else
    {
      // Não foi um igual a especial na última passada.
      ////////////////////////////////////////////////////

      // Verifica se é item igual a um especial
      if(
          (ucDataTosend == STX)
          ||(ucDataTosend == ETX)
          ||(ucDataTosend == ESC))
      {
        // É um especial
        /////////////////

        // Eviou um scape char, não deve avançar
        blnReturnValue = 0;

        // Indica que enviou um especial
        m_blnProcessingScapeChar = 1;

        // altera o dado
        ucDataTosend = ESC;
      }
    }
  }

  tx_buffer[m_ucTXBufferCorrentDataPos] = ucDataTosend;
  m_ucTXBufferCorrentDataPos++;

  //Serial2.write(ucDataTosend);

  return blnReturnValue;
}

/**
* unsigned char CalculateChecksum(unsigned char* udtpackage, unsigned char ucLen)
*
* Calcula o checksum de um pacote.
*
* @author Vinicius Ludwig
*/
unsigned char CalculateChecksum(unsigned char* udtpackage, unsigned char ucLen)
{
  // Cria a inicializa a variável de retorno.
  unsigned char ucChecksum = 0;

  // Cria a variável do controle de posição
  unsigned char ucPosition = 0;

  // Prepara a varredura
  while(ucPosition < ucLen)
  {
    //Varre os dados.
    //////////////////

    // Soma  o valor da vez.
    ucChecksum = ucChecksum + *udtpackage;

    // Atualiza os indices
    udtpackage++;
    ucPosition++;

  }

  // Retorna a informação
  return ucChecksum;
}

////////////////////////////////////////////////////////////////////////////////////////////////////////
////////////////////////////////////////////////////////////////////////////////////////////////////////
//----------------------------------------- CALLBACKS ------------------------------------------------//
////////////////////////////////////////////////////////////////////////////////////////////////////////
////////////////////////////////////////////////////////////////////////////////////////////////////////

void HAL_UART_RxCpltCallback(UART_HandleTypeDef *huart)
{
	portBASE_TYPE pxHigherPriorityTaskWoken = pdFALSE;

	xQueueSendFromISR(rxuartqueueHandle, &rx_buffer, &pxHigherPriorityTaskWoken);

	HAL_UART_Receive_IT(&huart4, (uint8_t *)&rx_buffer, 1);

	portYIELD_FROM_ISR(pxHigherPriorityTaskWoken);
}

void HAL_UART_TxCpltCallback(UART_HandleTypeDef *huart)
{
	portBASE_TYPE pxHigherPriorityTaskWoken = pdFALSE;

	for(uint8_t i=0; i < m_ucTXBufferCorrentDataPos; i++)
	{
		tx_buffer[i] = 0x00;
	}

	m_ucTXBufferCorrentDataPos = 0;

	xSemaphoreGiveFromISR(uartBinSemaHandle, &pxHigherPriorityTaskWoken);

	portYIELD_FROM_ISR(pxHigherPriorityTaskWoken);
}

void HAL_ADC_ConvHalfCpltCallback(ADC_HandleTypeDef *hadc){

	portBASE_TYPE pxHigherPriorityTaskWoken = pdFALSE;

	uint8_t bufferside=1;
	xQueueSendToBackFromISR(adchalfselectQueueHandle, &bufferside, &pxHigherPriorityTaskWoken);

	portYIELD_FROM_ISR(pxHigherPriorityTaskWoken);

}
void HAL_ADC_ConvCpltCallback(ADC_HandleTypeDef *hadc){

	portBASE_TYPE pxHigherPriorityTaskWoken = pdFALSE;

	uint8_t bufferside=2;
	xQueueSendToBackFromISR(adchalfselectQueueHandle, &bufferside, &pxHigherPriorityTaskWoken);

	portYIELD_FROM_ISR(pxHigherPriorityTaskWoken);
}

/* USER CODE END 4 */

void StartUartTask(void *argument)
{
  /* USER CODE BEGIN 5 */
	uint8_t receivedByte;
	uint8_t null = 0;

	HAL_UART_Receive_IT(&huart4, (uint8_t *)&rx_buffer, 1);

  /* Infinite loop */
  while(1)
  {
	  if(m_blnReply == 0)
	  {
		  if((m_udtUartmachineStates == UMS_RECEIVING)){
			// Se houver dados recebidos na fila
			if (xQueueReceive(rxuartqueueHandle, &receivedByte, portMAX_DELAY)) {
				// Processa o byte recebido
				UartMainProcess(receivedByte);
			}
		  }
		  else if ((m_udtUartmachineStates == UMS_PROCESSING_RESPONSE_PACKAGE))
		  {
			  UartMainProcess(null);
		  }
		  else if ((m_udtUartmachineStates == UMS_SENDING_RESPONSE))
		  {
			UartMainProcess(null);
		  }
	  }
	  else
	  {
		  HAL_UART_Transmit_IT(&huart4, (uint8_t *)&tx_buffer, m_ucTXBufferCorrentDataPos);
		  xSemaphoreTake(uartBinSemaHandle, portMAX_DELAY);

		  m_blnReply = 0;
	  }

  }
  /* USER CODE END 5 */
}

void StartAdcTask(void *argument)
{
  /* USER CODE BEGIN StartAdcTask */
	uint32_t accumulated_active_power = 0;
	uint16_t cycle_count = 0;

	uint32_t cc_voltage = 0;
	uint32_t cc_current = 0;
	uint8_t sidebuffer_choice = 0;
	uint16_t i = 0;
	uint16_t j = 0;

	ENERGY_DATA m_udtEnergyDataCalcs;
	m_udtEnergyDataCalcs.consumption = 0;

	HAL_ADCEx_MultiModeStart_DMA(&hadc1, (uint32_t*)adcBuffer, F_BUFFER_SIZE);
	HAL_TIM_Base_Start(&htim1);

  /* Infinite loop */
  while(1)
  {
		xQueueReceive(adchalfselectQueueHandle, &sidebuffer_choice, portMAX_DELAY);

		cc_voltage = 0;
		cc_current = 0;
		j = 0;

		m_udtEnergyDataCalcs.pot_ativa = 0;
		m_udtEnergyDataCalcs.pot_aparente = 0;
		m_udtEnergyDataCalcs.pot_reativa = 0;
		m_udtEnergyDataCalcs.rms_voltage = 0;
		m_udtEnergyDataCalcs.rms_current = 0;
		m_udtEnergyDataCalcs.pf = 0;

		if (sidebuffer_choice == 1){
			i = 0;
		}
		if (sidebuffer_choice == 2){
			i = H_BUFFER_SIZE;
		}

		for(uint16_t c = i; c < (H_BUFFER_SIZE + i); c++){
				// Extrai os 16 bits menos significativos
				adc1_voltage[j] = (((uint32_t)(adcBuffer[c] & 0x0000FFFF)) * V1_SENSOR_MULT * V1_REAL_MULT);

				cc_voltage += adc1_voltage[j];

				// Extrai os 16 bits mais significativos
				adc2_current[j] = (((uint32_t)((adcBuffer[c] >> 16) & 0x0000FFFF)) * C2_SENSOR_MULT * C2_REAL_MULT);

				cc_current += adc2_current[j];

				j++;
		}

		cc_voltage /= H_BUFFER_SIZE;
		cc_current /= H_BUFFER_SIZE;

		for(uint16_t c = 0; c < H_BUFFER_SIZE; c++){
			m_udtEnergyDataCalcs.rms_voltage += (int32_t)((adc1_voltage[c] - cc_voltage) * (adc1_voltage[c] - cc_voltage));
			m_udtEnergyDataCalcs.rms_current += (int32_t)((adc2_current[c] - cc_current) * (adc2_current[c] - cc_current));
		}

		m_udtEnergyDataCalcs.rms_voltage = (sqrtf((uint32_t)(m_udtEnergyDataCalcs.rms_voltage/H_BUFFER_SIZE)))*10;
		m_udtEnergyDataCalcs.rms_current = (sqrtf((uint32_t)(m_udtEnergyDataCalcs.rms_current/H_BUFFER_SIZE)))*100;

		if ((m_udtEnergyDataCalcs.rms_voltage) < MIN_RMS_VOLTAGE)
		{
			m_udtEnergyDataCalcs.rms_voltage = 0;
		}

		if ((m_udtEnergyDataCalcs.rms_current > 0 && m_udtEnergyDataCalcs.rms_voltage > 0))
		{
			for(uint16_t c = 0; c < H_BUFFER_SIZE; c++){
				m_udtEnergyDataCalcs.pot_ativa += (int32_t)((adc2_current[c] - cc_current) * (adc1_voltage[c] - cc_voltage));
			}
		}

		m_udtEnergyDataCalcs.pot_ativa = (m_udtEnergyDataCalcs.pot_ativa / H_BUFFER_SIZE)*100;

		if ((m_udtEnergyDataCalcs.rms_voltage * m_udtEnergyDataCalcs.rms_current) > 0)
	    {
			m_udtEnergyDataCalcs.pot_aparente = (uint32_t)((m_udtEnergyDataCalcs.rms_voltage * m_udtEnergyDataCalcs.rms_current))/10;
	    }

		if ((m_udtEnergyDataCalcs.pot_aparente > 0) && (m_udtEnergyDataCalcs.pot_ativa > 0))
		{
			m_udtEnergyDataCalcs.pot_ativa = m_udtEnergyDataCalcs.pot_ativa/10;
			m_udtEnergyDataCalcs.pot_aparente = m_udtEnergyDataCalcs.pot_aparente/10;

			if ((m_udtEnergyDataCalcs.pot_aparente > 0) && (m_udtEnergyDataCalcs.pot_ativa > 0))
			{
				m_udtEnergyDataCalcs.pot_reativa = ((m_udtEnergyDataCalcs.pot_aparente * m_udtEnergyDataCalcs.pot_aparente) / 10)-((m_udtEnergyDataCalcs.pot_ativa * m_udtEnergyDataCalcs.pot_ativa) / 10);
			}

		}

		if(m_udtEnergyDataCalcs.pot_reativa > 0)
	    {
			m_udtEnergyDataCalcs.pot_reativa = sqrtf((uint32_t)m_udtEnergyDataCalcs.pot_reativa);
		}

		if ((m_udtEnergyDataCalcs.pot_ativa > 0) && (m_udtEnergyDataCalcs.pot_aparente > 0))
	    {
			m_udtEnergyDataCalcs.pf = (m_udtEnergyDataCalcs.pot_ativa*1000)/m_udtEnergyDataCalcs.pot_aparente;
	    }

		accumulated_active_power += (m_udtEnergyDataCalcs.pot_ativa);
		cycle_count++;

		if (cycle_count >= 60)
		{

			m_udtEnergyDataCalcs.consumption += accumulated_active_power/3600;

			accumulated_active_power = 0;
			cycle_count = 0;
		}

		pot_ativa1 = m_udtEnergyDataCalcs.pot_ativa;
		pot_aparente1 = m_udtEnergyDataCalcs.pot_aparente;
		pot_reativa1 = m_udtEnergyDataCalcs.pot_reativa;
		rms_voltage1 = m_udtEnergyDataCalcs.rms_voltage;
		rms_current1 = m_udtEnergyDataCalcs.rms_current;
		pf1 = m_udtEnergyDataCalcs.pf;
		consumption1 = m_udtEnergyDataCalcs.consumption;

		if (uxQueueMessagesWaiting(energyqueueHandle) == 1) {
			xQueueOverwrite(energyqueueHandle, &m_udtEnergyDataCalcs);
		}
		else
		{
			//alimenta queue
			xQueueSend(energyqueueHandle, &m_udtEnergyDataCalcs, 0);
		}

  }
  /* USER CODE END StartAdcTask */
}

void HAL_TIM_PeriodElapsedCallback(TIM_HandleTypeDef *htim)
{
  if (htim->Instance == TIM7) {
    HAL_IncTick();
  }
}

void Error_Handler(void)
{
  __disable_irq();
  while (1)
  {
  }
}
